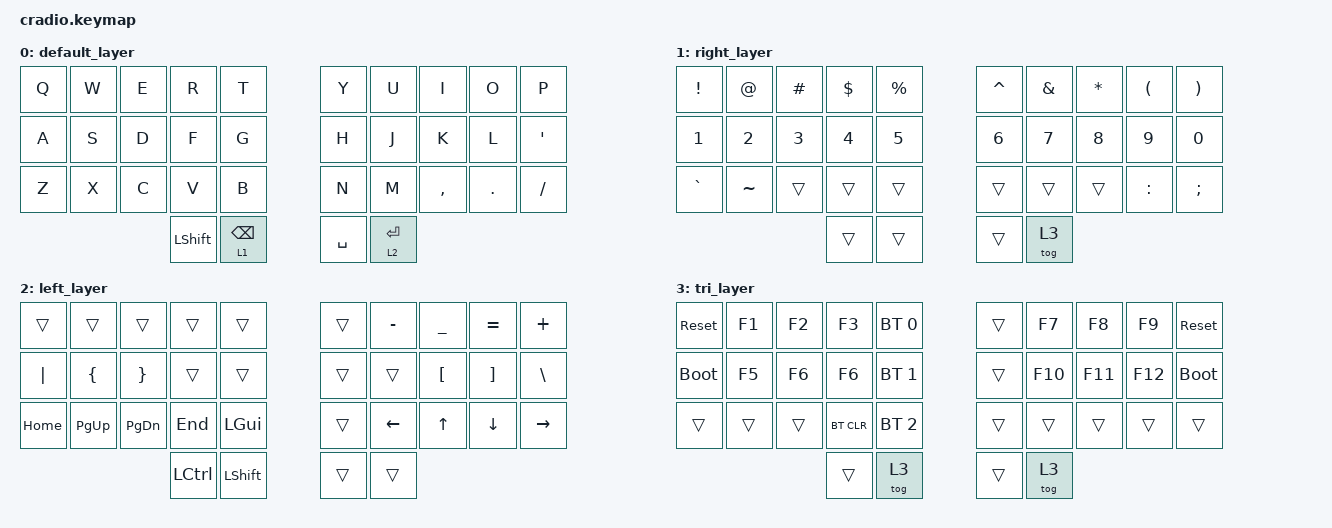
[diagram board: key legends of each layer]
// Copyright (c) 2022 The ZMK Contributors
// SPDX-License-Identifier: MIT

#include <behaviors.dtsi>
#include <dt-bindings/zmk/keys.h>
#include <dt-bindings/zmk/bt.h>

/ {
    behaviors {
        ht: hold_tap {
            compatible = "zmk,behavior-hold-tap";
            #binding-cells = <2>;
            flavor = "tap-preferred";
            tapping-term-ms = <220>;
            quick-tap-ms = <150>;
            require-prior-idle-ms = <100>;
            bindings = <&kp>, <&kp>;
        };
    };

    combos {
        compatible = "zmk,combos";
        combo_esc {
            timeout-ms = <50>;
            key-positions = <0 1>;
            bindings = <&kp ESC>;
        };
        combo_tab {
            timeout-ms = <50>;
            key-positions = <11 12 13>;
            bindings = <&kp TAB>;
        };
        combo_ctrl {
            timeout-ms = <50>;
            key-positions = <28 29>;
            bindings = <&kp LCTRL>;
        };
        combo_alt {
            timeout-ms = <50>;
            key-positions = <27 28>;
            bindings = <&kp LALT>;
        };
        
        combo_gui {
            timeout-ms = <50>;
            key-positions = <29 32>;
            bindings = <&kp LGUI>;
        };
    };



    keymap {
        compatible = "zmk,keymap";
        default_layer {
            bindings = <
        //╭──────────┬──────────┬──────────┬──────────┬──────────╮   ╭──────────┬──────────┬──────────┬──────────┬──────────╮
        //│  Q       │  W       │  E       │  R       │  T       │   │  Y       │  U       │  I       │  O       │  P       │
            &kp Q      &kp W      &kp E      &kp R      &kp T          &kp Y      &kp U      &kp I      &kp O      &kp P
        //├──────────┼──────────┼──────────┼──────────┼──────────┤   ├──────────┼──────────┼──────────┼──────────┼──────────┤
        //│  A       │  S       │  D       │  F       │  G       │   │  H       │  J       │  K       │  L       │ ' "      │
            &kp A      &kp S      &kp D      &kp F      &kp G          &kp H      &kp J      &kp K      &kp L      &kp SQT
        //├──────────┼──────────┼──────────┼──────────┼──────────┤   ├──────────┼──────────┼──────────┼──────────┼──────────┤
        //│  Z       │  X       │  C       │  V       │  B       │   │  N       │  M       │ , <      │ . >      │ / ?      │
            &kp Z      &kp X      &kp C      &kp V      &kp B          &kp N      &kp M      &kp COMMA  &kp DOT    &kp FSLH
        //╰──────────┴──────────┴──────────┼──────────┼──────────┤   ├──────────┼──────────┼──────────┴──────────┴──────────╯
                                            &kp LSHIFT  &lt 1 BSPC     &kp SPACE  &lt 2 ENTER
        //                                 ╰──────────┴──────────╯   ╰──────────┴──────────╯
            >;
        };

        right_layer {
            bindings = <
        //╭──────────┬──────────┬──────────┬──────────┬──────────╮   ╭──────────┬──────────┬──────────┬──────────┬──────────╮
        //│  !       │  @       │  #       │  $       │  %       │   │  ^       │  &       │  *       │  (       │   )      │
            &kp EXCL   &kp AT     &kp HASH   &kp DLLR   &kp PRCNT      &kp CARET  &kp AMPS   &kp STAR   &kp LPAR    &kp RPAR
        //├──────────┼──────────┼──────────┼──────────┼──────────┤   ├──────────┼──────────┼──────────┼──────────┼──────────┤
        //│  1       │  2       │  3       │  4       │  5       │   │  6       │  7       │  8       │  9       │  0       │
            &kp N1     &kp N2     &kp N3     &kp N4     &kp N5         &kp N6     &kp N7     &kp N8     &kp N9     &kp N0
        //├──────────┼──────────┼──────────┼──────────┼──────────┤   ├──────────┼──────────┼──────────┼──────────┼──────────┤
        //│ `        │  ~       │          │          │          │   │          │          │          │   :      │  ;       │
           &kp GRAVE   &kp TILDE  &trans     &trans     &trans         &trans     &trans     &trans     &kp COLON  &kp SEMI
        //╰──────────┴──────────┴──────────┼──────────┼──────────┤   ├──────────┼──────────┼──────────┴──────────┴──────────╯
                                             &trans     &trans         &trans     &tog 3
        //                                 ╰──────────┴──────────╯   ╰──────────┴──────────╯
            >;
        };

        left_layer {
            bindings = <
        //╭──────────┬──────────┬──────────┬──────────┬──────────╮   ╭──────────┬──────────┬──────────┬──────────┬──────────╮
        //│          │          │          │          │          │   │          │  -       │  _       │  =       │  +       │
            &trans     &trans     &trans     &trans     &trans         &trans     &kp MINUS  &kp UNDER  &kp EQUAL  &kp PLUS
        //├──────────┼──────────┼──────────┼──────────┼──────────┤   ├──────────┼──────────┼──────────┼──────────┼──────────┤
        //│          │          │          │          │          │   │          │          │          │          │          │
            &kp PIPE   &kp LBRC   &kp RBRC   &trans     &trans         &trans     &trans     &kp LBKT   &kp RBKT   &kp BSLH
        //├──────────┼──────────┼──────────┼──────────┼──────────┤   ├──────────┼──────────┼──────────┼──────────┼──────────┤
        //│          │          │          │          │          │   │          │          │          │          │          │
            &kp HOME   &kp PG_UP  &kp PG_DN  &kp END    &kp LGUI       &trans     &kp LEFT   &kp UP    &kp DOWN    &kp RIGHT
        //╰──────────┴──────────┴──────────┼──────────┼──────────┤   ├──────────┼──────────┼──────────┴──────────┴──────────╯
                                             &kp LCTRL  &kp LSHIFT      &trans    &trans
        //                                 ╰──────────┴──────────╯   ╰──────────┴──────────╯
            >;
        };

        tri_layer {
            bindings = <
        //╭──────────┬──────────┬──────────┬──────────┬──────────╮   ╭──────────┬──────────┬──────────┬──────────┬──────────╮
        //│ RESET    │          │          │          │PROFILE 0 │   │          │          │          │          │  RESET   │
           &sys_reset  &kp F1     &kp F2     &kp F3    &bt BT_SEL 0    &trans     &kp F7     &kp F8     &kp F9    &sys_reset
        //├──────────┼──────────┼──────────┼──────────┼──────────┤   ├──────────┼──────────┼──────────┼──────────┼──────────┤
        //│BOOTLOADER│          │          │          │PROFILE 1 │   │          │          │          │          │BOOTLOADER│
          &bootloader  &kp F5     &kp F6     &kp F6    &bt BT_SEL 1    &trans     &kp F10    &kp F11    &kp F12   &bootloader
        //├──────────┼──────────┼──────────┼──────────┼──────────┤   ├──────────┼──────────┼──────────┼──────────┼──────────┤
        //│          │          │          │ CLEAR BT │PROFILE 2 │   │          │          │          │          │          │
            &trans     &trans     &trans    &bt BT_CLR &bt BT_SEL 2    &trans     &trans     &trans     &trans     &trans
        //╰──────────┴──────────┴──────────┼──────────┼──────────┤   ├──────────┼──────────┼──────────┴──────────┴──────────╯
                                             &trans     &tog 3         &trans     &tog 3
        //                                 ╰──────────┴──────────╯   ╰──────────┴──────────╯
            >;
        };
    };
};
